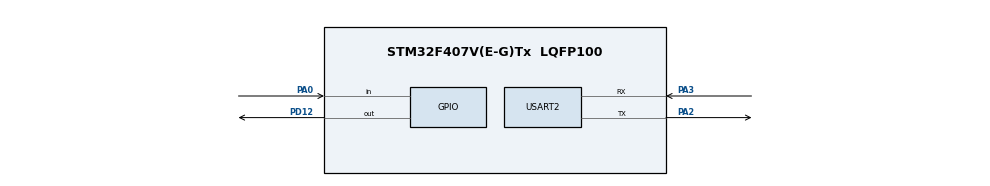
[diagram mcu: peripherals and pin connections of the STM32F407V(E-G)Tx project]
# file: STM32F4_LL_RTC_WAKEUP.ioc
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Mcu.Family=STM32F4
Mcu.Name=STM32F407V(E-G)Tx
Mcu.Package=LQFP100
NVIC.PriorityGroup=NVIC_PRIORITYGROUP_0
NVIC.RTC_WKUP_IRQn=true\:0\:0\:false\:false\:true\:true\:true\:true
PA0-WKUP.Signal=GPIO_Input
PA13.Mode=Serial_Wire
PA13.Signal=SYS_JTMS-SWDIO
PA14.Mode=Serial_Wire
PA14.Signal=SYS_JTCK-SWCLK
PA2.Mode=Asynchronous
PA2.Signal=USART2_TX
PA3.Mode=Asynchronous
PA3.Signal=USART2_RX
PD12.Signal=GPIO_Output
PH0-OSC_IN.Mode=HSE-External-Oscillator
PH0-OSC_IN.Signal=RCC_OSC_IN
PH1-OSC_OUT.Mode=HSE-External-Oscillator
PH1-OSC_OUT.Signal=RCC_OSC_OUT
ProjectManager.HeapSize=0x200
ProjectManager.StackSize=0x400
ProjectManager.TargetToolchain=STM32CubeIDE
RCC.48MHZClocksFreq_Value=48000000
RCC.AHBFreq_Value=168000000
RCC.APB1CLKDivider=RCC_HCLK_DIV4
RCC.APB1Freq_Value=42000000
RCC.APB1TimFreq_Value=84000000
RCC.APB2CLKDivider=RCC_HCLK_DIV2
RCC.APB2Freq_Value=84000000
RCC.APB2TimFreq_Value=168000000
RCC.CortexFreq_Value=168000000
RCC.HCLKFreq_Value=168000000
RCC.HSE_VALUE=8000000
RCC.HSI_VALUE=16000000
RCC.LSE_VALUE=32768
RCC.PLLM=8
RCC.PLLN=336
RCC.PLLQ=7
RCC.PLLSourceVirtual=RCC_PLLSOURCE_HSE
RCC.SYSCLKFreq_VALUE=168000000
RCC.SYSCLKSource=RCC_SYSCLKSOURCE_PLLCLK
RCC.VCOOutputFreq_Value=336000000
RTC.Date=18
RTC.Hours=12
RTC.Minutes=12
RTC.Month=RTC_MONTH_APRIL
RTC.Seconds=12
RTC.WakeUpClock=RTC_WAKEUPCLOCK_CK_SPRE_16BITS
RTC.WakeUpCounter=10
RTC.Year=22
USART2.VirtualMode=VM_ASYNC
VP_RTC_VS_RTC_Activate.Mode=RTC_Enabled
VP_RTC_VS_RTC_Calendar.Mode=RTC_Calendar
VP_RTC_VS_RTC_WakeUp_intern.Mode=WakeUp
board=STM32F407G-DISC1

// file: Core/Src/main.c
/* USER CODE BEGIN Header */
/**
  ******************************************************************************
  * @file           : main.c
  * @brief          : Main program body
  ******************************************************************************
  * @attention
  *
  * Copyright (c) 2022 STMicroelectronics.
  * All rights reserved.
  *
  * This software is licensed under terms that can be found in the LICENSE file
  * in the root directory of this software component.
  * If no LICENSE file comes with this software, it is provided AS-IS.
  *
  ******************************************************************************
  */
/* USER CODE END Header */
#include "main.h"
#include "rtc.h"
#include "usart.h"
#include "gpio.h"

/* USER CODE BEGIN Includes */
#include <stdio.h>
/* USER CODE END Includes */

void SystemClock_Config(void);

/* USER CODE BEGIN 0 */

int __io_putchar (int ch)
{
  while (!LL_USART_IsActiveFlag_TXE(USART2));
  LL_USART_TransmitData8(USART2, (char)ch);
  return ch;
}

void RTCWakeupConfig(void)
{
  //1.disable write protection
  LL_RTC_DisableWriteProtection(RTC);

  //2.disable wakeup timer
  LL_RTC_WAKEUP_Disable(RTC);

  //3.wait wakeup write flag
  while(!LL_RTC_IsActiveFlag_WUTW(RTC));

  //4.set clock & counter(1Hz,10sec)
  LL_RTC_WAKEUP_SetClock(RTC, LL_RTC_WAKEUPCLOCK_CKSPRE);
  LL_RTC_WAKEUP_SetAutoReload(RTC, 10);

  //5.enable write protection
  LL_RTC_EnableWriteProtection(RTC);
}

void EnableWakeup(void)
{
  //1.disable write protection
  LL_RTC_DisableWriteProtection(RTC);

  //2.enable wakeup interrupt
  LL_RTC_EnableIT_WUT(RTC);

  //3.enable exti22 & rising trigger
  LL_EXTI_EnableIT_0_31(LL_EXTI_LINE_22);
  LL_EXTI_EnableRisingTrig_0_31(LL_EXTI_LINE_22);

  //4.enable wakeup timer
  LL_RTC_WAKEUP_Enable(RTC);

  //5.enable write protection
  LL_RTC_EnableWriteProtection(RTC);
}

void DisableWakeup(void)
{
  //1.disable write protection
  LL_RTC_DisableWriteProtection(RTC);

  //2.disable wakeup interrupt
  LL_RTC_DisableIT_WUT(RTC);

  //3.clear flags(PWR_SB,PWR_WU,RTC_WUT,EXTI22)
  LL_PWR_ClearFlag_SB();
  LL_PWR_ClearFlag_WU();
  LL_RTC_ClearFlag_WUT(RTC);
  LL_EXTI_ClearFlag_0_31(LL_EXTI_LINE_22);

  //4.enable write protection
  LL_RTC_EnableWriteProtection(RTC);
}

void EnterStandbyMode(void)
{
  //1.enable wakeup
  EnableWakeup();

  //2.set stanbymode
  LL_PWR_SetPowerMode(LL_PWR_MODE_STANDBY);

  //3.enter sleep
  LL_LPM_EnableDeepSleep();

  //4.wait for interrupt
  __WFI();
}

/* USER CODE END 0 */

int main(void)
{

  /* MCU Configuration--------------------------------------------------------*/

  /* Reset of all peripherals, Initializes the Flash interface and the Systick. */
  LL_APB2_GRP1_EnableClock(LL_APB2_GRP1_PERIPH_SYSCFG);
  LL_APB1_GRP1_EnableClock(LL_APB1_GRP1_PERIPH_PWR);

  /* System interrupt init*/
  NVIC_SetPriorityGrouping(NVIC_PRIORITYGROUP_0);

  /* Configure the system clock */
  SystemClock_Config();

  /* Initialize all configured peripherals */
  MX_GPIO_Init();
  MX_USART2_UART_Init();
  MX_RTC_Init();
  /* USER CODE BEGIN 2 */

  if(LL_PWR_IsActiveFlag_SB())
  {
    printf("Exit from Standby Mode. Disable Wakeup.\r\n");
    DisableWakeup();
  }

  /* USER CODE END 2 */

  /* Infinite loop */
  /* USER CODE BEGIN WHILE */
  while (1)
  {

    if(LL_GPIO_IsInputPinSet(GPIOA, LL_GPIO_PIN_0))
    {
      printf("Entering Standby Mode.\r\n");
      EnterStandbyMode();
    }

    LL_GPIO_TogglePin(GPIOD, LL_GPIO_PIN_12);
    LL_mDelay(500);

    /* USER CODE END WHILE */

  }
}

void SystemClock_Config(void)
{
  LL_FLASH_SetLatency(LL_FLASH_LATENCY_5);
  while(LL_FLASH_GetLatency()!= LL_FLASH_LATENCY_5)
  {
  }
  LL_PWR_SetRegulVoltageScaling(LL_PWR_REGU_VOLTAGE_SCALE1);
  LL_RCC_HSE_Enable();

   /* Wait till HSE is ready */
  while(LL_RCC_HSE_IsReady() != 1)
  {

  }
  LL_RCC_LSI_Enable();

   /* Wait till LSI is ready */
  while(LL_RCC_LSI_IsReady() != 1)
  {

  }
  LL_PWR_EnableBkUpAccess();
  LL_RCC_PLL_ConfigDomain_SYS(LL_RCC_PLLSOURCE_HSE, LL_RCC_PLLM_DIV_8, 336, LL_RCC_PLLP_DIV_2);
  LL_RCC_PLL_Enable();

   /* Wait till PLL is ready */
  while(LL_RCC_PLL_IsReady() != 1)
  {

  }
  LL_RCC_SetAHBPrescaler(LL_RCC_SYSCLK_DIV_1);
  LL_RCC_SetAPB1Prescaler(LL_RCC_APB1_DIV_4);
  LL_RCC_SetAPB2Prescaler(LL_RCC_APB2_DIV_2);
  LL_RCC_SetSysClkSource(LL_RCC_SYS_CLKSOURCE_PLL);

   /* Wait till System clock is ready */
  while(LL_RCC_GetSysClkSource() != LL_RCC_SYS_CLKSOURCE_STATUS_PLL)
  {

  }
  LL_Init1msTick(168000000);
  LL_SetSystemCoreClock(168000000);
}

void Error_Handler(void)
{
  __disable_irq();
  while (1)
  {
  }
}
